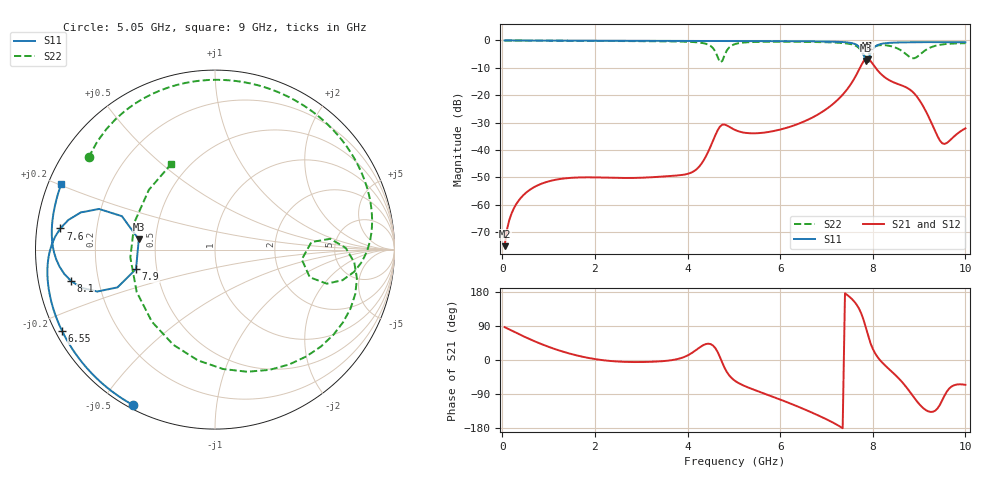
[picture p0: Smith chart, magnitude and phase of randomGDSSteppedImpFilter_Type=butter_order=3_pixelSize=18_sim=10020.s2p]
! freq	dB(S11)	phase(S11)	dB(S12)	phase(S12)
!  dB(S21)	phase(S21)	dB(S22)	phase(S22)
!S-par simulation data
#  GHz  S  DB  R 50
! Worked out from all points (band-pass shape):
!   200 points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, 50 MHz to 10 GHz, reference 50 ohm
!   highest |S21| = -6.67 dB at 7.9 GHz (marker M1); lowest = -75.1 dB at 50 MHz (marker M2)
!   |S21| within 3 dB of the highest: 7.733 GHz to 8.047 GHz (313.3 MHz wide, 3.97 % of centre)
!   lowest |S11| = -7.4 dB at 7.85 GHz (marker M3), VSWR 2.50, Z = 20.1 + j2.8 ohm
!   |S11| at or under -10 dB: nowhere
!   |S22| runs from -8.0 to 0.0 dB; largest |S21 - S12| = 0
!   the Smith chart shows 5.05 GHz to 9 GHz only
!   S11 on the Smith chart (normalised r, x): 5.05 GHz: 0.01, -0.60; 6.55 GHz: 0.02, -0.25; 7.6 GHz: 0.07, +0.07; 7.9 GHz: 0.38, -0.10; 8.1 GHz: 0.10, -0.11; 9 GHz: 0.04, +0.20
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0.05  -0.00 -1.3  -75.11 86.7  -75.11 86.7  -0.00 -5.0
0.5  -0.02 -12.4  -55.78 60.1  -55.78 60.1  -0.06 -47.6
1.75  -0.05 -42.9  -49.98 8.1  -49.98 8.1  -0.17 -135.3
3.4  -0.11 -81.3  -49.77 -3.6  -49.77 -3.6  -0.30 150.5
4.3  -0.14 -101.3  -45.02 36.4  -45.02 36.4  -0.87 97.7
4.6  -0.16 -107.9  -34.63 31.5  -34.63 31.5  -4.04 32.8
4.75  -0.17 -111.2  -30.76 -7.0  -30.76 -7.0  -7.50 -100.3
4.85  -0.17 -113.4  -31.04 -31.9  -31.04 -31.9  -3.61 -167.8
5.05  -0.18 -117.7  -32.85 -57.1  -32.85 -57.1  -1.19 143.9
5.6  -0.22 -129.9  -33.75 -86.0  -33.75 -86.0  -0.51 100.2
6.55  -0.31 -151.9  -29.34 -131.5  -29.34 -131.5  -0.52 54.8
6.7  -0.33 -155.7  -28.11 -139.5  -28.11 -139.5  -0.55 47.8
7.6  -1.21 172.2  -13.94 154.3  -13.94 154.3  -1.70 -4.7
7.85  -7.36 172.4  -6.68 85.6  -6.68 85.6  -6.26 -6.5
7.9  -6.88 -166.2  -6.67 63.8  -6.67 63.8  -5.37 4.5
8.1  -1.72 -167.6  -10.84 8.4  -10.84 8.4  -1.86 -11.4
8.35  -0.88 179.0  -14.46 -23.9  -14.46 -23.9  -1.94 -42.3
8.65  -0.71 168.1  -16.59 -60.5  -16.59 -60.5  -4.09 -98.8
8.85  -0.66 161.7  -18.60 -92.1  -18.60 -92.1  -6.49 -174.6
9  -0.62 157.0  -21.61 -115.9  -21.61 -115.9  -5.42 117.1
9.4  -0.61 144.2  -35.02 -127.6  -35.02 -127.6  -1.76 28.4
10  -0.67 124.7  -32.11 -65.4  -32.11 -65.4  -1.02 -22.4
